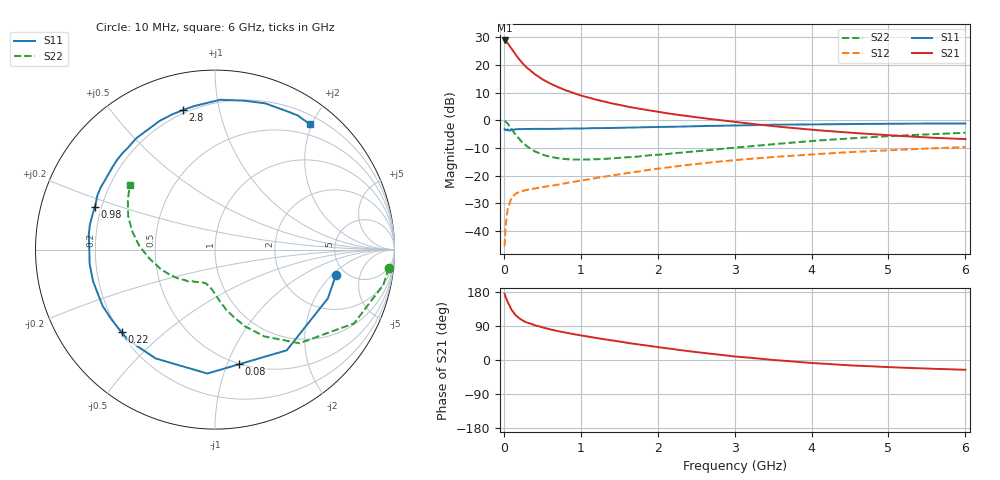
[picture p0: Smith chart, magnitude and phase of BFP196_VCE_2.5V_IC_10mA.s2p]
! Infineon Technologies  Discrete & RF Semiconductors
! BFP196
! VCE = 2.5 V,  IC =  10mA
! Common Emitter S-Parameters:  Jan 2016
# GHz  S  MA  R  50
!  f  S11  S21  S12  S22
! GHz  MAG  ANG  MAG  ANG  MAG  ANG  MAG  ANG
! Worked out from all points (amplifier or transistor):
!   210 points, 10 MHz to 6 GHz, reference 50 ohm
!   highest |S21| = 28.9 dB at 10 MHz (marker M1)
!   |S21| within 3 dB of that: start of sweep to 102.8 MHz
!   unconditionally stable (mu >= 1): 870 MHz to 3.404 GHz
!   at 185 MHz: K = 0.31, MSG = 24.4 dB, |S12| = -26.1 dB
!   at 1.52 GHz: K = 1.15, MAG = 10.1 dB, |S12| = -19.4 dB
!   at 6 GHz: K = 0.98, MSG = 1.4 dB, |S12| = -9.7 dB
!   S11 on the Smith chart (normalised r, x): 10 MHz: 4.12, -2.26; 80 MHz: 0.50, -1.10; 220 MHz: 0.21, -0.36; 980 MHz: 0.17, +0.17; 2.8 GHz: 0.18, +0.78; 6 GHz: 0.33, +1.97
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0.01  0.6882 -12.1  27.86 174.9  0.0053 86.2  0.9733 -6.1
0.02  0.685 -23.4  27.27 167.8  0.0108 80.0  0.9584 -11.8
0.05  0.6889 -54.5  25 152.2  0.0245 65.6  0.8775 -27.9
0.08  0.6527 -78.1  21.66 141.2  0.0331 54.6  0.7613 -38.8
0.1  0.6918 -93.5  19.99 132.1  0.0393 50.0  0.7033 -47.9
0.15  0.6906 -118.5  15.67 118.7  0.0469 41.1  0.5563 -60.4
0.2  0.699 -133.8  12.69 110.0  0.051 36.1  0.4573 -68.8
0.22  0.6944 -138.5  11.79 107.7  0.0519 35.1  0.4287 -70.9
0.26  0.696 -147.1  10.16 102.7  0.0537 33.5  0.3775 -75.6
0.3  0.7004 -153.4  8.947 98.8  0.0553 32.9  0.3399 -79.5
0.4  0.7021 -165.4  6.872 91.8  0.0586 32.7  0.2758 -86.2
0.5  0.7031 -173.5  5.534 86.0  0.0619 33.4  0.2401 -91.0
0.7  0.7084 173.4  4.013 76.2  0.0683 36.5  0.2068 -99.2
0.98  0.7106 160.3  2.883 65.7  0.0804 40.1  0.1947 -107.3
1.02  0.713 158.6  2.773 64.2  0.0821 40.6  0.1949 -108.4
1.4  0.7278 144.3  2.028 51.8  0.1002 43.4  0.2052 -118.3
2.02  0.7602 124.5  1.413 33.6  0.1346 42.9  0.2393 -134.7
2.8  0.7982 102.9  1.014 14.0  0.1795 37.5  0.3017 -155.2
3.1  0.8112 96.2  0.905 7.7  0.1961 34.3  0.3296 -162.9
4.1  0.8476 77.2  0.659 -9.0  0.2464 23.8  0.4335 174.7
5.1  0.8681 63.0  0.527 -19.5  0.2918 12.4  0.5264 156.9
6  0.8758 52.8  0.458 -25.8  0.3281 1.7  0.5963 142.6
